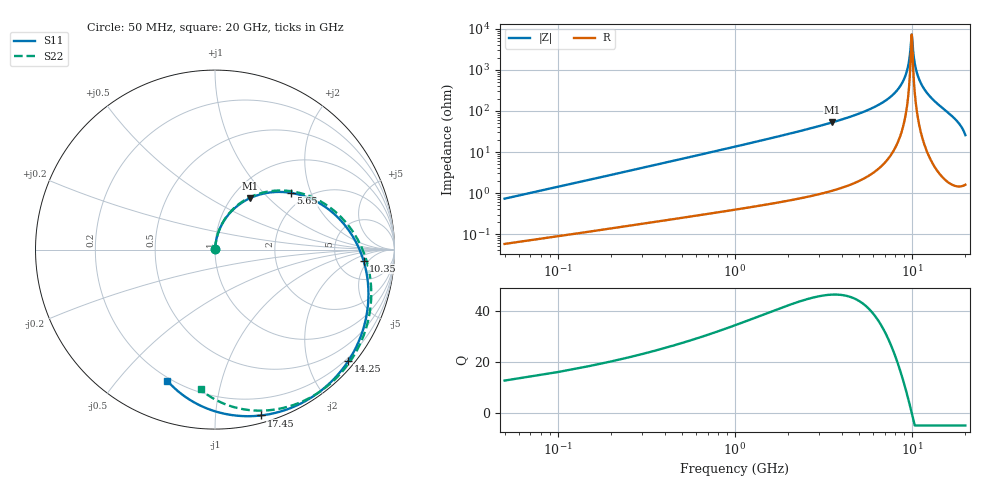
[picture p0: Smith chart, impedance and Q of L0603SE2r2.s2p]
!	AVX	Thin	Film	Operation	Date:		2004
!	Description:		"Series,"	Thin	"Film,"	"LGA,"	RF	Inductors
!	Part	Number:	L06032r2nH
!	50	MHz	-	20	GHz
!	Serial	Measurements
#	mhz	S	db	R	50
!	S11	S11	S21	S21	S12	S12	S22	S22
!	dB	Phase	dB	Phase	dB	Phase	dB	Phase
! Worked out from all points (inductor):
!   400 points, 50 MHz to 20 GHz, reference 50 ohm
!   read as 1/Y11, port 2 shorted: L = 2.21 nH near 150 MHz
!   highest Q = 46.5 at 3.55 GHz (marker M1), where L = 2.38 nH
!   self-resonance near 9.95 GHz
!   S11 on the Smith chart (normalised r, x): 50 MHz: 1.00, +0.01; 5.65 GHz: 1.66, +1.45; 10.35 GHz: 9.30, -3.64; 14.25 GHz: 0.14, -2.75; 17.45 GHz: 0.06, -1.31; 20 GHz: 0.18, -0.68
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50  -44.72 83.8  -0.01 -0.5  -0.01 -0.5  -44.72 83.8
150  -35.64 84.6  -0.01 -1.5  -0.01 -1.5  -35.64 84.6
250  -31.37 84.2  -0.02 -2.4  -0.02 -2.4  -31.37 84.3
450  -26.44 82.9  -0.03 -4.3  -0.03 -4.3  -26.44 83.0
800  -21.59 80.1  -0.06 -7.5  -0.06 -7.5  -21.59 80.3
1800  -14.76 71.3  -0.20 -16.7  -0.20 -16.7  -14.76 71.8
3400  -9.51 57.0  -0.59 -31.2  -0.59 -31.2  -9.51 57.8
3550  -9.17 55.6  -0.64 -32.5  -0.64 -32.5  -9.17 56.5
5650  -5.57 36.9  -1.53 -51.1  -1.53 -51.1  -5.57 38.3
6700  -4.34 27.7  -2.14 -60.2  -2.14 -60.2  -4.34 29.4
10050  -1.78 -1.6  -5.05 -88.7  -5.05 -88.7  -1.78 1.2
10350  -1.62 -4.2  -5.41 -91.2  -5.41 -91.2  -1.62 -1.3
13350  -0.48 -31.2  -11.14 -116.2  -11.14 -116.2  -0.47 -26.9
14250  -0.28 -39.8  -14.56 -123.1  -14.56 -123.1  -0.28 -34.9
15300  -0.16 -50.4  -22.81 -125.7  -22.81 -125.7  -0.15 -44.7
15550  -0.15 -53.0  -27.10 -120.1  -27.10 -120.1  -0.14 -47.0
15900  -0.14 -56.7  -36.22 -51.2  -36.22 -51.2  -0.13 -50.4
16300  -0.16 -61.1  -25.50 14.8  -25.50 14.8  -0.15 -54.4
16700  -0.20 -65.6  -19.67 18.8  -19.67 18.8  -0.19 -58.5
17450  -0.36 -74.5  -13.72 14.5  -13.72 14.5  -0.34 -66.4
18750  -0.98 -91.5  -8.01 0.6  -8.01 0.6  -0.94 -81.0
20000  -2.18 -110.0  -4.61 -15.6  -4.61 -15.6  -2.12 -95.9
